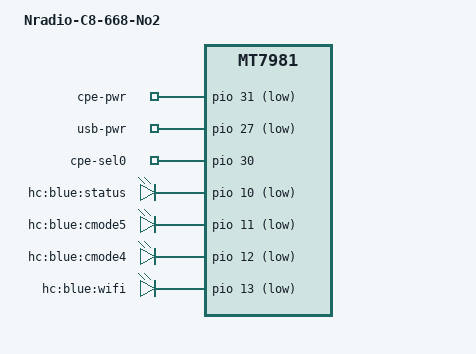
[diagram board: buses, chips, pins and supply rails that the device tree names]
/dts-v1/;

#include "mt7981-nradio-emmc-No2.dtsi"

/ {
	model = "Nradio-C8-668-No2";

	aliases {
		led-boot = &led_status;
		led-failsafe = &led_status;
		led-running = &led_status;
		led-upgrade = &led_status;
	};

	gpio_export {
		compatible = "gpio-export";
		#size-cells = <0>;

		cpepower {
			gpio-export,name = "cpe-pwr";
			gpio-export,output = <0>;
			gpios = <&pio 31 GPIO_ACTIVE_LOW>;
		};

		usbpower {
			gpio-export,name = "usb-pwr";
			gpio-export,output = <0>;
			gpios = <&pio 27 GPIO_ACTIVE_LOW>;
		};

		cpesel0 {
			gpio-export,name = "cpe-sel0";
			gpio-export,output = <1>;
			gpios = <&pio 30 GPIO_ACTIVE_HIGH>;
		};
	};

	gpio-leds {
		compatible = "gpio-leds";

		led_status: status {
			label = "hc:blue:status";
			gpios = <&pio 10 GPIO_ACTIVE_LOW>;
		};

		cmode5 {
			label = "hc:blue:cmode5";
			gpios = <&pio 11 GPIO_ACTIVE_LOW>;
		};

		cmode4 {
			label = "hc:blue:cmode4";
			gpios = <&pio 12 GPIO_ACTIVE_LOW>;
		};

		wifi {
			label = "hc:blue:wifi";
			gpios = <&pio 13 GPIO_ACTIVE_LOW>;
		};
	};
};

/ {
	chosen {
		bootargs = "console=ttyS0,115200n1 loglevel=8  \
				earlycon=uart8250,mmio32,0x11002000";
	};

	gpio-keys {
		compatible = "gpio-keys";
		reset {
			label = "reset";
			linux,code = <KEY_RESTART>;
			gpios = <&pio 1 GPIO_ACTIVE_LOW>;
		};

		wps {
			label = "wps";
			linux,code = <KEY_WPS_BUTTON>;
			gpios = <&pio 9 GPIO_ACTIVE_LOW>;
		};
	};
};

&uart0 {
	status = "okay";
};

&watchdog {
	status = "okay";
};

/ {
	compatible = "HCMT7981-EMMC", "mediatek,mt7981-emmc-rfb";
	chosen {
		bootargs = "console=ttyS0,115200n1 loglevel=8  \
				earlycon=uart8250,mmio32,0x11002000 \
				root=PARTLABEL=rootfs_2nd rootfstype=squashfs,f2fs";
	};
	memory {
		// fpga ddr4: 1GB
		reg = <0 0x40000000 0 0x40000000>;
	};
};

&mmc0 {
         pinctrl-names = "default", "state_uhs";
         pinctrl-0 = <&mmc0_pins_default>;
         pinctrl-1 = <&mmc0_pins_uhs>;
         bus-width = <8>;
         max-frequency = <52000000>;
         cap-mmc-highspeed;
         vmmc-supply = <&reg_3p3v>;
         non-removable;
         status = "okay";
};

&spi1 {
	pinctrl-names = "default";
	pinctrl-0 = <&spic_pins>;
	status = "disabled";
};

&pio {

	spic_pins: spi1-pins {
		mux {
			function = "spi";
			groups = "spi1_1";
		};
	};

	mmc0_pins_default: mmc0-pins-default {
		mux {
			function = "flash";
			groups = "emmc_45";
		};
	};

	mmc0_pins_uhs: mmc0-pins-uhs {
		mux {
			function = "flash";
			groups = "emmc_45";
		};
	};
};

&eth {
	status = "okay";

	gmac0: mac@0 {
		compatible = "mediatek,eth-mac";
		reg = <0>;
		phy-mode = "2500base-x";

		fixed-link {
			speed = <2500>;
			full-duplex;
			pause;
		};
	};

	gmac1: mac@1 {
		compatible = "mediatek,eth-mac";
		reg = <1>;
		phy-mode = "2500base-x";

		fixed-link {
			speed = <2500>;
			full-duplex;
			pause;
		};
	};

	mdio: mdio-bus {
		#address-cells = <1>;
		#size-cells = <0>;

		phy5: phy@5 {
			compatible = "ethernet-phy-id67c9.de0a";
			reg = <5>;
			reset-gpios = <&pio 7 1>;
			reset-assert-us = <600>;
			reset-deassert-us = <20000>;
			phy-mode = "2500base-x";
		};

		phy6: phy@6 {
			compatible = "ethernet-phy-id67c9.de0a";
			reg = <21>;
			reset-gpios = <&pio 8 1>;
			reset-assert-us = <600>;
			reset-deassert-us = <20000>;
			phy-mode = "2500base-x";
		};

		switch@0 {
			compatible = "mediatek,mt7531";
			reg = <31>;
			reset-gpios = <&pio 39 0>;

			ports {
				#address-cells = <1>;
				#size-cells = <0>;

				port@1 {
					reg = <1>;
					label = "lan1";
				};

				port@2 {
					reg = <2>;
					label = "lan2";
				};

				port@3 {
					reg = <3>;
					label = "lan3";
				};

				port@5 {
					reg = <5>;
					label = "lan4";
					phy-mode = "2500base-x";
					phy-handle = <&phy5>;
				};

				port@6 {
					reg = <6>;
					label = "cpu";
					ethernet = <&gmac0>;
					phy-mode = "2500base-x";

					fixed-link {
						speed = <2500>;
						full-duplex;
						pause;
					};
				};
			};
		};
	};
};

&xhci {
	status = "okay";
};

&hnat {
	mtketh-wan = "eth1";
	mtketh-lan = "lan";
	mtketh-max-gmac = <2>;
	status = "okay";
};
